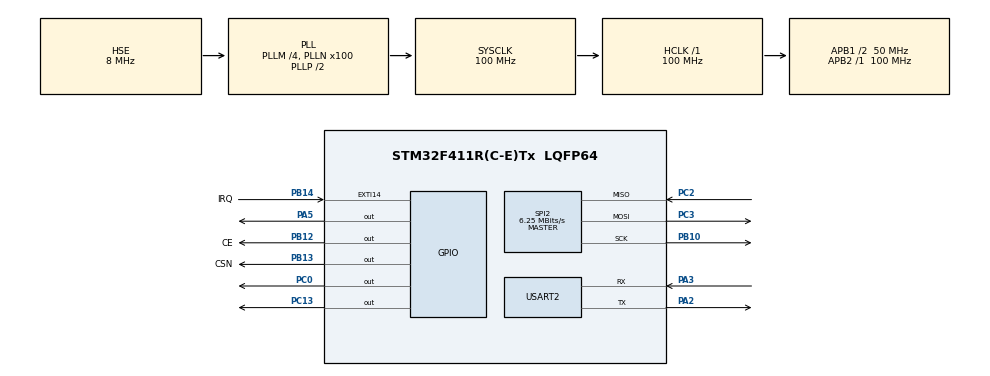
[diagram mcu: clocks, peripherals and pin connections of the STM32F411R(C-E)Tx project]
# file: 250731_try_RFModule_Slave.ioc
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Mcu.Family=STM32F4
Mcu.Name=STM32F411R(C-E)Tx
Mcu.Package=LQFP64
NVIC.EXTI15_10_IRQn=true\:0\:0\:false\:false\:true\:true\:true\:true
NVIC.PriorityGroup=NVIC_PRIORITYGROUP_4
PA2.Mode=Asynchronous
PA2.Signal=USART2_TX
PA3.Mode=Asynchronous
PA3.Signal=USART2_RX
PA5.Signal=GPIO_Output
PB10.Mode=Full_Duplex_Master
PB10.Signal=SPI2_SCK
PB12.GPIO_Label=CE
PB12.GPIO_Speed=GPIO_SPEED_FREQ_HIGH
PB12.Signal=GPIO_Output
PB13.GPIO_Label=CSN
PB13.GPIO_Speed=GPIO_SPEED_FREQ_HIGH
PB13.PinState=GPIO_PIN_SET
PB13.Signal=GPIO_Output
PB14.GPIO_Label=IRQ
PB14.GPIO_ModeDefaultEXTI=GPIO_MODE_IT_FALLING
PB14.Signal=GPXTI14
PC0.Signal=GPIO_Output
PC13-ANTI_TAMP.Signal=GPIO_Output
PC2.Mode=Full_Duplex_Master
PC2.Signal=SPI2_MISO
PC3.Mode=Full_Duplex_Master
PC3.Signal=SPI2_MOSI
PH0\ -\ OSC_IN.Mode=HSE-External-Oscillator
PH0\ -\ OSC_IN.Signal=RCC_OSC_IN
PH1\ -\ OSC_OUT.Mode=HSE-External-Oscillator
PH1\ -\ OSC_OUT.Signal=RCC_OSC_OUT
ProjectManager.HeapSize=0x200
ProjectManager.StackSize=0x400
ProjectManager.TargetToolchain=STM32CubeIDE
RCC.48MHZClocksFreq_Value=50000000
RCC.AHBFreq_Value=100000000
RCC.APB1CLKDivider=RCC_HCLK_DIV2
RCC.APB1Freq_Value=50000000
RCC.APB1TimFreq_Value=100000000
RCC.APB2Freq_Value=100000000
RCC.APB2TimFreq_Value=100000000
RCC.CortexFreq_Value=100000000
RCC.HCLKFreq_Value=100000000
RCC.HSE_VALUE=8000000
RCC.HSI_VALUE=16000000
RCC.LSE_VALUE=32768
RCC.PLLM=4
RCC.PLLN=100
RCC.PLLSourceVirtual=RCC_PLLSOURCE_HSE
RCC.SYSCLKFreq_VALUE=100000000
RCC.SYSCLKSource=RCC_SYSCLKSOURCE_PLLCLK
RCC.VCOOutputFreq_Value=200000000
SPI2.BaudRatePrescaler=SPI_BAUDRATEPRESCALER_8
SPI2.CalculateBaudRate=6.25 MBits/s
SPI2.Direction=SPI_DIRECTION_2LINES
SPI2.Mode=SPI_MODE_MASTER
SPI2.VirtualType=VM_MASTER
USART2.VirtualMode=VM_ASYNC
board=custom

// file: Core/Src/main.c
/* USER CODE BEGIN Header */
/**
  ******************************************************************************
  * @file           : main.c
  * @brief          : Main program body
  ******************************************************************************
  * @attention
  *
  * Copyright (c) 2025 STMicroelectronics.
  * All rights reserved.
  *
  * This software is licensed under terms that can be found in the LICENSE file
  * in the root directory of this software component.
  * If no LICENSE file comes with this software, it is provided AS-IS.
  *
  ******************************************************************************
  */
/* USER CODE END Header */
#include "main.h"
#include "spi.h"
#include "usart.h"
#include "gpio.h"

/* USER CODE BEGIN Includes */
#include "NRF24L01.h"
/* USER CODE END Includes */

/* USER CODE BEGIN PD */
//#define TRANSMITTER
/* USER CODE END PD */

/* USER CODE BEGIN PV */

uint8_t rx_data[NRF24L01P_PAYLOAD_LENGTH] = {};
uint8_t rf_flag = 0;

/* USER CODE END PV */

void SystemClock_Config(void);
/* USER CODE BEGIN PFP */

void HAL_GPIO_EXTI_Callback(uint16_t GPIO_Pin);

/* USER CODE END PFP */

int main(void)
{

  /* MCU Configuration--------------------------------------------------------*/

  /* Reset of all peripherals, Initializes the Flash interface and the Systick. */
  HAL_Init();

  /* Configure the system clock */
  SystemClock_Config();

  /* Initialize all configured peripherals */
  MX_GPIO_Init();
  MX_SPI2_Init();
  MX_USART2_UART_Init();
  /* USER CODE BEGIN 2 */
  nrf24l01p_reset();
  nrf24l01p_rx_init(2500, _1Mbps);

  /* USER CODE END 2 */

  /* Infinite loop */
  while (1)
  {

    /* USER CODE BEGIN 3 */
//	  HAL_GPIO_TogglePin(GPIOA, GPIO_PIN_5); // GPIO ON
//
	  HAL_UART_Transmit(&huart2, rx_data, NRF24L01P_PAYLOAD_LENGTH, 10);

	  if(rf_flag == 1){
		  HAL_GPIO_WritePin(GPIOC, GPIO_PIN_0, SET); // GPIO ON
		  HAL_Delay(1000);
		  HAL_GPIO_WritePin(GPIOC, GPIO_PIN_0, RESET); // GPIO ON
		  rf_flag = 0;
		  rx_data[0] = 0x00;
	  }

	  HAL_Delay(100);

  }
  /* USER CODE END 3 */
}

void SystemClock_Config(void)
{
  RCC_OscInitTypeDef RCC_OscInitStruct = {0};
  RCC_ClkInitTypeDef RCC_ClkInitStruct = {0};

  /** Configure the main internal regulator output voltage
  */
  __HAL_RCC_PWR_CLK_ENABLE();
  __HAL_PWR_VOLTAGESCALING_CONFIG(PWR_REGULATOR_VOLTAGE_SCALE1);

  /** Initializes the RCC Oscillators according to the specified parameters
  * in the RCC_OscInitTypeDef structure.
  */
  RCC_OscInitStruct.OscillatorType = RCC_OSCILLATORTYPE_HSE;
  RCC_OscInitStruct.HSEState = RCC_HSE_ON;
  RCC_OscInitStruct.PLL.PLLState = RCC_PLL_ON;
  RCC_OscInitStruct.PLL.PLLSource = RCC_PLLSOURCE_HSE;
  RCC_OscInitStruct.PLL.PLLM = 4;
  RCC_OscInitStruct.PLL.PLLN = 100;
  RCC_OscInitStruct.PLL.PLLP = RCC_PLLP_DIV2;
  RCC_OscInitStruct.PLL.PLLQ = 4;
  if (HAL_RCC_OscConfig(&RCC_OscInitStruct) != HAL_OK)
  {
    Error_Handler();
  }

  /** Initializes the CPU, AHB and APB buses clocks
  */
  RCC_ClkInitStruct.ClockType = RCC_CLOCKTYPE_HCLK|RCC_CLOCKTYPE_SYSCLK
                              |RCC_CLOCKTYPE_PCLK1|RCC_CLOCKTYPE_PCLK2;
  RCC_ClkInitStruct.SYSCLKSource = RCC_SYSCLKSOURCE_PLLCLK;
  RCC_ClkInitStruct.AHBCLKDivider = RCC_SYSCLK_DIV1;
  RCC_ClkInitStruct.APB1CLKDivider = RCC_HCLK_DIV2;
  RCC_ClkInitStruct.APB2CLKDivider = RCC_HCLK_DIV1;

  if (HAL_RCC_ClockConfig(&RCC_ClkInitStruct, FLASH_LATENCY_3) != HAL_OK)
  {
    Error_Handler();
  }
}

/* USER CODE BEGIN 4 */

void HAL_GPIO_EXTI_Callback(uint16_t GPIO_Pin)
{
	if(GPIO_Pin == NRF24L01P_IRQ_PIN_NUMBER)
	{
	    nrf24l01p_rx_receive(rx_data);
	    if(rx_data[0] == 0x01){
	    	rf_flag = 1;
	    }
	}
}

/* USER CODE END 4 */

void Error_Handler(void)
{
  __disable_irq();
  while (1)
  {
  }
}
